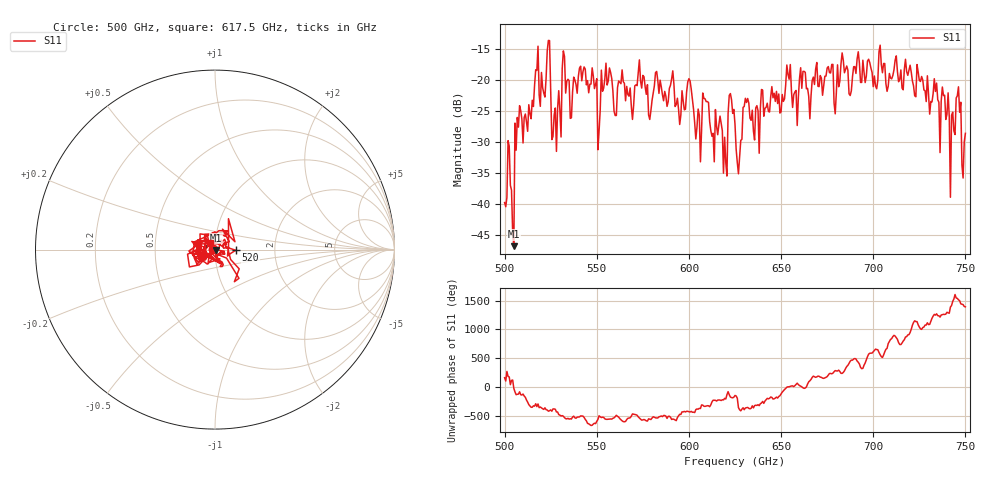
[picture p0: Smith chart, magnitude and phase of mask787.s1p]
!Created with skrf (http://scikit-rf.org).
# GHz S MA R 50.0
!freq magS11 angS11
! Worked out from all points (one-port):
!   401 points, 500 GHz to 750 GHz, reference 50 ohm
!   lowest |S11| = -46.9 dB at 505 GHz (marker M1), VSWR 1.01, Z = 50.4 - j0.177 ohm
!   |S11| at or under -10 dB: start of sweep to end of sweep
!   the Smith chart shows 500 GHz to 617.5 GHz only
!   S11 on the Smith chart (normalised r, x): 500 GHz: 0.98, +0.01; 520 GHz: 1.26, -0.01; 617.5 GHz: 0.95, +0.07
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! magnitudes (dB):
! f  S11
! 500 GHz  -39.8
! 505 GHz  -46.9
! 508.1 GHz  -24.1
! 520 GHz  -18.8
! 523.8 GHz  -13.6
! 526.9 GHz  -25.7
! 531.2 GHz  -18.2
! 548.8 GHz  -21.4
! 550.6 GHz  -31.3
! 553.8 GHz  -21.3
! 562.5 GHz  -20.4
! 590.6 GHz  -19.8
! 593.8 GHz  -22.9
! 600 GHz  -19.8
! 605 GHz  -24.7
! 608.8 GHz  -23.0
! 617.5 GHz  -27.0
! 620 GHz  -33.3
! 623.1 GHz  -23.2
! 625 GHz  -27.2
! 626.9 GHz  -35.2
! 630.6 GHz  -23.0
! 656.2 GHz  -24.4
! 687.5 GHz  -22.5
! 718.8 GHz  -19.2
! 743.1 GHz  -25.2
! 746.2 GHz  -21.1
! 750 GHz  -28.6
